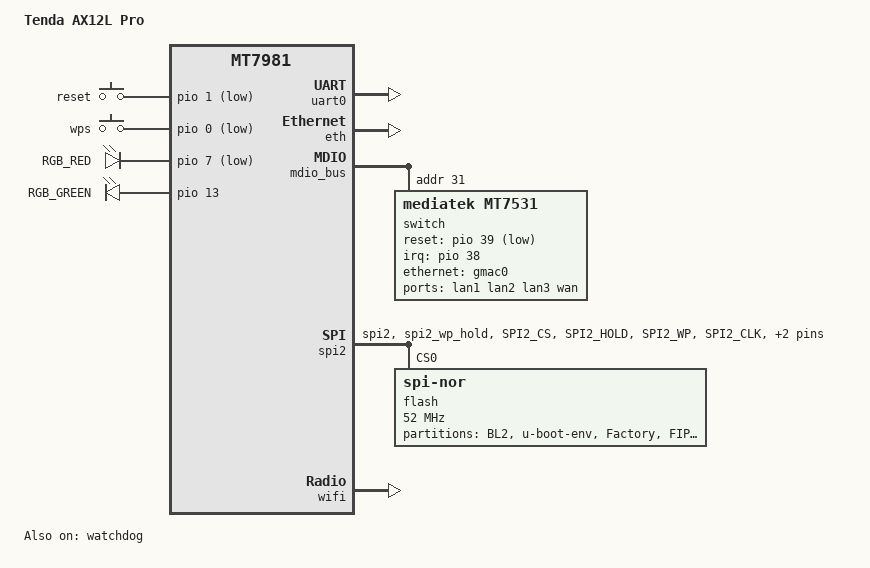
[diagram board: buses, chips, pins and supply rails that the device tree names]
/dts-v1/;

#include "mt7981b.dtsi"

/ {
	model = "Tenda AX12L Pro";
	compatible = "tenda,ax12l-pro", "mediatek,mt7981";

	aliases {
		led-boot = &led_run;
		led-failsafe = &led_run;
		led-running = &led_status;
		led-upgrade = &led_run;
		serial0 = &uart0;
		label-mac-device = &gmac0;
	};

	chosen {
		stdout-path = "serial0:115200n8";
		bootargs-override = "earlycon=uart8250,mmio32,0x11002000 console=ttyS0,115200n8";
	};

	gpio-keys {
		compatible = "gpio-keys";

		reset {
			label = "reset";
			linux,code = <KEY_RESTART>;
			gpios = <&pio 1 GPIO_ACTIVE_LOW>;
		};

		wps {
			label = "wps";
			linux,code = <KEY_WPS_BUTTON>;
			gpios = <&pio 0 GPIO_ACTIVE_LOW>;
		};
	};

	leds {
		compatible = "gpio-leds";

		led_run: RGB_RED {
			label = "RGB_RED";
			gpios = <&pio 7 GPIO_ACTIVE_LOW>;
			default-state = "on";
		};

		led_status: RGB_GREEN {
			label = "RGB_GREEN";
			gpios = <&pio 13 GPIO_ACTIVE_HIGH>;
			default-state = "off";
		};
	};
};

&uart0 {
	status = "okay";
};

&watchdog {
	status = "okay";
};

&eth {
	pinctrl-names = "default";
	pinctrl-0 = <&mdio_pins>;
	status = "okay";

	gmac0: mac@0 {
		compatible = "mediatek,eth-mac";
		reg = <0>;
		phy-mode = "2500base-x";

		fixed-link {
			speed = <2500>;
			full-duplex;
			pause;
		};
	};
};

&mdio_bus {
	switch: switch@1f {
		compatible = "mediatek,mt7531";
		reg = <31>;
		reset-gpios = <&pio 39 GPIO_ACTIVE_LOW>;
		interrupt-controller;
		#interrupt-cells = <1>;
		interrupt-parent = <&pio>;
		interrupts = <38 IRQ_TYPE_LEVEL_HIGH>;
	};
};

&switch {
	ports {
		#address-cells = <1>;
		#size-cells = <0>;

		port@0 {
			reg = <0>;
			label = "lan1";
		};

		port@1 {
			reg = <1>;
			label = "lan2";
		};

		port@2 {
			reg = <2>;
			label = "lan3";
		};

		wan: port@3 {
			reg = <3>;
			label = "wan";
		};

		port@6 {
			reg = <6>;
			ethernet = <&gmac0>;
			phy-mode = "2500base-x";

			fixed-link {
				speed = <2500>;
				full-duplex;
				pause;
			};
		};
	};
};

&spi2 {
	pinctrl-names = "default";
	pinctrl-0 = <&spi2_flash_pins>;
	status = "okay";

	flash@0 {
		compatible = "jedec,spi-nor";
		reg = <0>;

		force-sr-unprotect;

		spi-max-frequency = <52000000>;
		spi-tx-bus-width = <4>;
		spi-rx-bus-width = <4>;

		partitions {
			compatible = "fixed-partitions";
			#address-cells = <1>;
			#size-cells = <1>;

			partition@00000 {
				label = "BL2";
				reg = <0x00000 0x0040000>;
				read-only;
			};
			partition@40000 {
				label = "u-boot-env";
				reg = <0x40000 0x0010000>;
			};
			factory: partition@50000 {
				label = "Factory";
				reg = <0x50000 0x00A0000>; /* 640K */
				read-only;
			};
			partition@f0000 {
				label = "FIP";
				reg = <0xF0000 0x0090000>; /* 576K */
				read-only;
			};
			partition@180000 {
				label = "firmware";
				reg = <0x180000 0x0E50000>;
			};
			partition@fd0000 {
				label = "CFG";
				reg = <0xfd0000 0x0010000>; /* 64k */
				read-only;
			};
			partition@fe0000 {
				label = "MISC2";
				reg = <0xfe0000 0x0010000>; /* 64k */
				read-only;
			};
		};
	};
};

&pio {
	spi2_flash_pins: spi2-pins {
		mux {
			function = "spi";
			groups = "spi2", "spi2_wp_hold";
		};

		conf-pu {
			pins = "SPI2_CS", "SPI2_HOLD", "SPI2_WP";
			drive-strength = <MTK_DRIVE_8mA>;
			bias-pull-up = <MTK_PUPD_SET_R1R0_11>;
		};

		conf-pd {
			pins = "SPI2_CLK", "SPI2_MOSI", "SPI2_MISO";
			drive-strength = <MTK_DRIVE_8mA>;
			bias-pull-down = <MTK_PUPD_SET_R1R0_11>;
		};
	};
};

&wifi {
	mediatek,mtd-eeprom = <&factory 0x0>;

	status = "okay";
};
